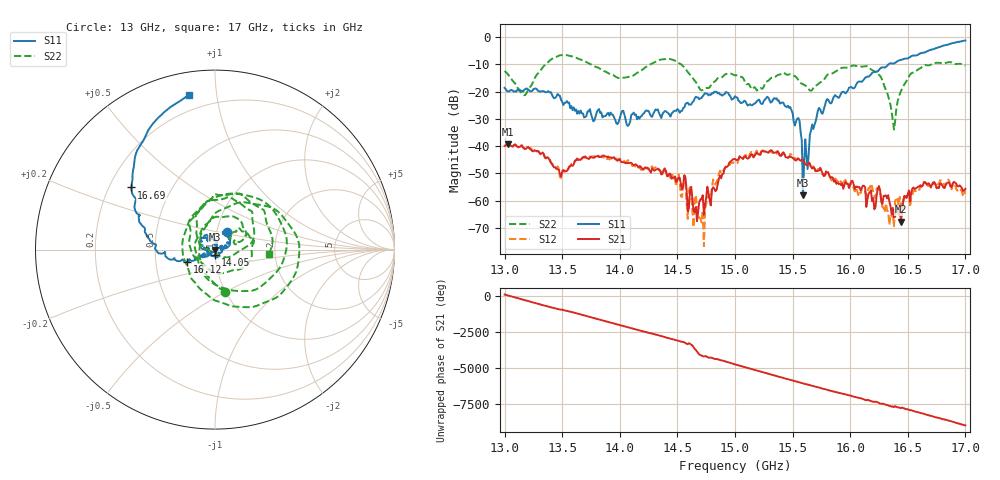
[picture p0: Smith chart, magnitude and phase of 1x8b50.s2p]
!Keysight Technologies,P9374A,MY57211807,A.19.30.04
!Date: Friday, May 08, 2026 14:29:07
!Correction: S11(C  2-Port  )
!S21(C  2-Port  )
!S12(C  2-Port  )
!S22(C  2-Port  )
!S2P File: Measurements: S11, S21, S12, S22:
# Hz S  dB  R 50
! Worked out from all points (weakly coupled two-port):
!   401 points, 13 GHz to 17 GHz, reference 50 ohm
!   highest |S21| = -39.23 dB at 13.03 GHz (marker M1); lowest = -67.8 dB at 16.44 GHz (marker M2)
!   lowest |S11| = -58.1 dB at 15.59 GHz (marker M3), VSWR 1.00, Z = 49.9 + j0.0381 ohm
!   |S11| at or under -10 dB: start of sweep to 16.33 GHz
!   |S22| runs from -33.9 to -6.6 dB; largest |S21 - S12| = 0.0011
!   S11 on the Smith chart (normalised r, x): 13 GHz: 1.12, +0.22; 14.05 GHz: 1.00, -0.06; 16.12 GHz: 0.73, -0.10; 16.69 GHz: 0.29, +0.31; 17 GHz: 0.12, +0.84
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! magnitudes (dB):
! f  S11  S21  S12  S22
! 13 GHz  -18.6  -39.9  -40.1  -12.4
! 13.03 GHz  -19.9  -39.2  -39.2  -13.7
! 13.17 GHz  -19.3  -41.0  -40.8  -21.3
! 13.41 GHz  -21.0  -46.5  -46.4  -8.0
! 13.67 GHz  -28.0  -44.5  -44.6  -8.3
! 14.05 GHz  -30.1  -46.3  -45.9  -14.8
! 14.34 GHz  -27.8  -48.7  -48.5  -8.4
! 14.66 GHz  -21.8  -62.4  -58.1  -16.5
! 14.71 GHz  -22.3  -59.6  -68.1  -19.5
! 14.82 GHz  -20.0  -55.6  -53.1  -16.4
! 15 GHz  -21.7  -44.7  -46.2  -14.0
! 15.47 GHz  -25.9  -44.1  -44.0  -13.6
! 15.56 GHz  -30.7  -45.1  -45.2  -16.5
! 15.59 GHz  -58.1  -44.9  -45.3  -17.2
! 15.61 GHz  -37.5  -46.7  -47.4  -17.7
! 15.67 GHz  -32.0  -48.3  -47.9  -19.3
! 16.12 GHz  -15.5  -54.6  -55.9  -10.7
! 16.34 GHz  -9.8  -60.5  -68.9  -23.2
! 16.38 GHz  -9.6  -66.2  -69.7  -33.9
! 16.44 GHz  -8.4  -67.8  -61.3  -19.9
! 16.69 GHz  -4.7  -54.1  -54.5  -10.2
! 17 GHz  -1.2  -55.7  -56.5  -10.4
